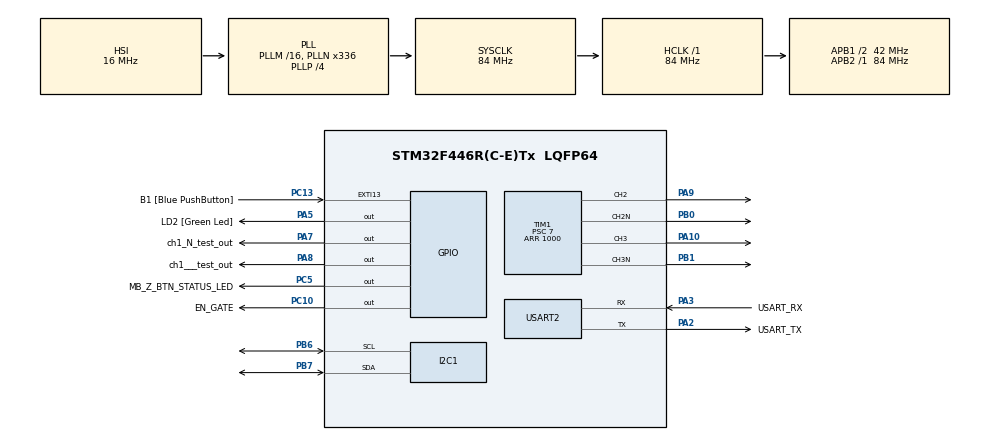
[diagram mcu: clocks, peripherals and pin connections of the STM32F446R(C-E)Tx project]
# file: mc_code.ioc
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Mcu.Family=STM32F4
Mcu.Name=STM32F446R(C-E)Tx
Mcu.Package=LQFP64
NVIC.PriorityGroup=NVIC_PRIORITYGROUP_4
PA10.Signal=S_TIM1_CH3
PA13.GPIO_Label=TMS
PA13.Mode=Serial_Wire
PA13.Signal=SYS_JTMS-SWDIO
PA14.GPIO_Label=TCK
PA14.Mode=Serial_Wire
PA14.Signal=SYS_JTCK-SWCLK
PA2.GPIO_Label=USART_TX
PA2.Mode=Asynchronous
PA2.Signal=USART2_TX
PA3.GPIO_Label=USART_RX
PA3.Mode=Asynchronous
PA3.Signal=USART2_RX
PA5.GPIO_Label=LD2 [Green Led]
PA5.Signal=GPIO_Output
PA7.GPIO_Label=ch1_N_test_out
PA7.Signal=GPIO_Output
PA8.GPIO_Label=ch1___test_out
PA8.Signal=GPIO_Output
PA9.Signal=S_TIM1_CH2
PB0.Mode=PWM Generation2 CH2 CH2N
PB0.Signal=TIM1_CH2N
PB1.Mode=PWM Generation3 CH3 CH3N
PB1.Signal=TIM1_CH3N
PB3.GPIO_Label=SWO
PB3.Signal=SYS_JTDO-SWO
PB6.Mode=I2C
PB6.Signal=I2C1_SCL
PB7.Mode=I2C
PB7.Signal=I2C1_SDA
PC10.GPIO_Label=EN_GATE
PC10.Signal=GPIO_Output
PC13.GPIO_Label=B1 [Blue PushButton]
PC13.GPIO_ModeDefaultEXTI=GPIO_MODE_IT_FALLING
PC13.Signal=GPXTI13
PC14-OSC32_IN.Mode=LSE-External-Oscillator
PC14-OSC32_IN.Signal=RCC_OSC32_IN
PC15-OSC32_OUT.Mode=LSE-External-Oscillator
PC15-OSC32_OUT.Signal=RCC_OSC32_OUT
PC5.GPIO_Label=MB_Z_BTN_STATUS_LED
PC5.Signal=GPIO_Output
PH0-OSC_IN.Mode=HSE-External-Oscillator
PH0-OSC_IN.Signal=RCC_OSC_IN
PH1-OSC_OUT.Mode=HSE-External-Oscillator
PH1-OSC_OUT.Signal=RCC_OSC_OUT
ProjectManager.HeapSize=0x200
ProjectManager.StackSize=0x400
ProjectManager.TargetToolchain=TrueSTUDIO
RCC.48MHZClocksFreq_Value=84000000
RCC.AHBFreq_Value=84000000
RCC.APB1CLKDivider=RCC_HCLK_DIV2
RCC.APB1Freq_Value=42000000
RCC.APB1TimFreq_Value=84000000
RCC.APB2Freq_Value=84000000
RCC.APB2TimFreq_Value=84000000
RCC.CortexFreq_Value=84000000
RCC.FLatency-AdvancedSettings=FLASH_LATENCY_2
RCC.HCLKFreq_Value=84000000
RCC.HSE_VALUE=8000000
RCC.HSI_VALUE=16000000
RCC.PLLN=336
RCC.PLLP=RCC_PLLP_DIV4
RCC.SYSCLKFreq_VALUE=84000000
RCC.SYSCLKSource=RCC_SYSCLKSOURCE_PLLCLK
RCC.USBFreq_Value=168000000
RCC.VCOOutputFreq_Value=336000000
SH.S_TIM1_CH2.0=TIM1_CH2,PWM Generation2 CH2 CH2N
SH.S_TIM1_CH3.0=TIM1_CH3,PWM Generation3 CH3 CH3N
TIM1.Channel-PWM\ Generation2\ CH2\ CH2N=TIM_CHANNEL_2
TIM1.Channel-PWM\ Generation3\ CH3\ CH3N=TIM_CHANNEL_3
TIM1.CounterMode=TIM_COUNTERMODE_CENTERALIGNED1
TIM1.OCNIdleState_2=TIM_OCNIDLESTATE_RESET
TIM1.OCNPolarity_2=TIM_OCNPOLARITY_HIGH
TIM1.Period=1000
TIM1.Prescaler=7
TIM1.Pulse-PWM\ Generation2\ CH2\ CH2N=500
TIM1.Pulse-PWM\ Generation3\ CH3\ CH3N=300
USART2.VirtualMode=VM_ASYNC
VP_TIM1_VS_ClockSourceINT.Mode=Internal
board=NUCLEO-F446RE

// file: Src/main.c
/* USER CODE BEGIN Header */
/**
  ******************************************************************************
  * @file           : main.c
  * @brief          : Main program body
  ******************************************************************************
  ** This notice applies to any and all portions of this file
  * that are not between comment pairs USER CODE BEGIN and
  * USER CODE END. Other portions of this file, whether
  * inserted by the user or by software development tools
  * are owned by their respective copyright owners.
  *
  * COPYRIGHT(c) 2019 STMicroelectronics
  *
  * Redistribution and use in source and binary forms, with or without modification,
  * are permitted provided that the following conditions are met:
  *   1. Redistributions of source code must retain the above copyright notice,
  *      this list of conditions and the following disclaimer.
  *   2. Redistributions in binary form must reproduce the above copyright notice,
  *      this list of conditions and the following disclaimer in the documentation
  *      and/or other materials provided with the distribution.
  *   3. Neither the name of STMicroelectronics nor the names of its contributors
  *      may be used to endorse or promote products derived from this software
  *      without specific prior written permission.
  *
  * THIS SOFTWARE IS PROVIDED BY THE COPYRIGHT HOLDERS AND CONTRIBUTORS "AS IS"
  * AND ANY EXPRESS OR IMPLIED WARRANTIES, INCLUDING, BUT NOT LIMITED TO, THE
  * IMPLIED WARRANTIES OF MERCHANTABILITY AND FITNESS FOR A PARTICULAR PURPOSE ARE
  * DISCLAIMED. IN NO EVENT SHALL THE COPYRIGHT HOLDER OR CONTRIBUTORS BE LIABLE
  * FOR ANY DIRECT, INDIRECT, INCIDENTAL, SPECIAL, EXEMPLARY, OR CONSEQUENTIAL
  * DAMAGES (INCLUDING, BUT NOT LIMITED TO, PROCUREMENT OF SUBSTITUTE GOODS OR
  * SERVICES; LOSS OF USE, DATA, OR PROFITS; OR BUSINESS INTERRUPTION) HOWEVER
  * CAUSED AND ON ANY THEORY OF LIABILITY, WHETHER IN CONTRACT, STRICT LIABILITY,
  * OR TORT (INCLUDING NEGLIGENCE OR OTHERWISE) ARISING IN ANY WAY OUT OF THE USE
  * OF THIS SOFTWARE, EVEN IF ADVISED OF THE POSSIBILITY OF SUCH DAMAGE.
  *
  ******************************************************************************
  */
/* USER CODE END Header */

#include "main.h"

/* USER CODE BEGIN Includes */

#include <stdbool.h>

/* USER CODE END Includes */

/* USER CODE BEGIN PD */

#define USING_MY_BOARD 0 // 0 = using Nucleo board

#if USING_MY_BOARD == 0
#define Z_BTN_STATUS_LED_PIN  LD2_Pin
#define Z_BTN_STATUS_LED_PORT LD2_GPIO_Port
#else
#define Z_BTN_STATUS_LED_PIN  MB_Z_BTN_STATUS_LED_Pin
#define Z_BTN_STATUS_LED_PORT GPIOC
#endif

#define NUNCHUCK_ADDRESS  0xA4

/* USER CODE END PD */

I2C_HandleTypeDef hi2c1;

TIM_HandleTypeDef htim1;

UART_HandleTypeDef huart2;

void SystemClock_Config(void);
static void MX_GPIO_Init(void);
static void MX_USART2_UART_Init(void);
static void MX_I2C1_Init(void);
static void MX_TIM1_Init(void);

/* USER CODE BEGIN 0 */
bool nunchuck_connected(uint32_t xferOptions, uint32_t error_code)
{
	if (xferOptions == 0 || error_code != 0)
		return false;
	else
		return true;
}
/* USER CODE END 0 */

int main(void)
{

  /* MCU Configuration--------------------------------------------------------*/

  /* Reset of all peripherals, Initializes the Flash interface and the Systick. */
  HAL_Init();

  /* Configure the system clock */
  SystemClock_Config();

  /* Initialize all configured peripherals */
  MX_GPIO_Init();
  MX_USART2_UART_Init();
  MX_I2C1_Init();
  MX_TIM1_Init();
  /* USER CODE BEGIN 2 */

  //blink LED once for just to show that everything is working
  HAL_GPIO_WritePin(Z_BTN_STATUS_LED_PORT,Z_BTN_STATUS_LED_PIN, 1);
  HAL_Delay(1000); //Delay 1 Seconds
  HAL_GPIO_WritePin(Z_BTN_STATUS_LED_PORT,Z_BTN_STATUS_LED_PIN, 0);

  //Set EN_GATE high to enable Mosfet Driver
  HAL_GPIO_WritePin(EN_GATE_GPIO_Port,EN_GATE_Pin, 1);

  // remove !!!!!!!!!!!!!!!!!!!!!!!!!!!!!!!!!!!!!!!!!!!!!!!!!
  HAL_GPIO_WritePin(GPIOA,ch1___test_out_Pin, 1);
  HAL_GPIO_WritePin(GPIOA,ch1_N_test_out_Pin, 0);

  HAL_TIM_PWM_Start   (&htim1, TIM_CHANNEL_1);
  HAL_TIMEx_PWMN_Start(&htim1, TIM_CHANNEL_1);
  HAL_TIM_PWM_Start   (&htim1, TIM_CHANNEL_2);
  HAL_TIMEx_PWMN_Start(&htim1, TIM_CHANNEL_2);
  HAL_TIM_PWM_Start   (&htim1, TIM_CHANNEL_3);
  HAL_TIMEx_PWMN_Start(&htim1, TIM_CHANNEL_3);

  //keep trying to connect to nunchuck, stay in this loop until you do,
  //if you cant get out of this loop, unplug, replug, debug, press S button to connect nunchuck
  while(nunchuck_connected(hi2c1.XferOptions, hi2c1.ErrorCode) == false)
  {
	  //set mode of nunchuck
	  uint8_t init_data[6];
	  init_data[0] = 0xF0;
	  init_data[1] = 0x55;
	//  twi_send_msg(&TWID, NUNCHUCK, &init_data[0], 2);
	  HAL_I2C_Master_Transmit(&hi2c1, NUNCHUCK_ADDRESS, init_data, 2, 100);
	  init_data[0] = 0xFB;
	  init_data[1] = 0x00;
	  HAL_I2C_Master_Transmit(&hi2c1, NUNCHUCK_ADDRESS, init_data, 2, 100);

	  wait(10);
  }

  //read from nunchuck
  uint8_t data[6];
  uint8_t buf[] = {0};

  int buttonZ = 0;

  bool btn_Z = 0;

  while(1)
    {

  	  uint8_t msg1[] = "ABCCC";
  	  HAL_UART_Transmit(&huart2, msg1, strlen((char*)msg1), 5) ;
  	  HAL_I2C_Master_Transmit(&hi2c1, NUNCHUCK_ADDRESS, buf, 1, 100);
  	  HAL_I2C_Master_Receive (&hi2c1, NUNCHUCK_ADDRESS, data, 6, 100);

  	  buttonZ = data[5] & 0x01;
  	  btn_Z = data[5] & 0x01;
        if(data[5] & 0x01) {
      	  HAL_GPIO_WritePin(Z_BTN_STATUS_LED_PORT,Z_BTN_STATUS_LED_PIN,0);
            buttonZ = 0;
            //  //stop pwm
              HAL_TIM_PWM_Stop(&htim1, TIM_CHANNEL_1);
              HAL_TIM_PWM_Stop(&htim1, TIM_CHANNEL_2);
              HAL_TIM_PWM_Stop(&htim1, TIM_CHANNEL_3);

        } else {
      	  HAL_GPIO_WritePin(Z_BTN_STATUS_LED_PORT,Z_BTN_STATUS_LED_PIN, 1);
            buttonZ = 1;

            //  HAL_TIM_Base_Start_IT(&htim8);
              HAL_TIM_PWM_Start(&htim1, TIM_CHANNEL_1);
              HAL_TIM_PWM_Start(&htim1, TIM_CHANNEL_2);
              HAL_TIM_PWM_Start(&htim1, TIM_CHANNEL_3);
        }
    }

  /* USER CODE END 2 */

  /* Infinite loop */

}

void SystemClock_Config(void)
{
  RCC_OscInitTypeDef RCC_OscInitStruct = {0};
  RCC_ClkInitTypeDef RCC_ClkInitStruct = {0};

  /**Configure the main internal regulator output voltage
  */
  __HAL_RCC_PWR_CLK_ENABLE();
  __HAL_PWR_VOLTAGESCALING_CONFIG(PWR_REGULATOR_VOLTAGE_SCALE3);
  /**Initializes the CPU, AHB and APB busses clocks
  */
  RCC_OscInitStruct.OscillatorType = RCC_OSCILLATORTYPE_HSI;
  RCC_OscInitStruct.HSIState = RCC_HSI_ON;
  RCC_OscInitStruct.HSICalibrationValue = RCC_HSICALIBRATION_DEFAULT;
  RCC_OscInitStruct.PLL.PLLState = RCC_PLL_ON;
  RCC_OscInitStruct.PLL.PLLSource = RCC_PLLSOURCE_HSI;
  RCC_OscInitStruct.PLL.PLLM = 16;
  RCC_OscInitStruct.PLL.PLLN = 336;
  RCC_OscInitStruct.PLL.PLLP = RCC_PLLP_DIV4;
  RCC_OscInitStruct.PLL.PLLQ = 2;
  RCC_OscInitStruct.PLL.PLLR = 2;
  if (HAL_RCC_OscConfig(&RCC_OscInitStruct) != HAL_OK)
  {
    Error_Handler();
  }
  /**Initializes the CPU, AHB and APB busses clocks
  */
  RCC_ClkInitStruct.ClockType = RCC_CLOCKTYPE_HCLK|RCC_CLOCKTYPE_SYSCLK
                              |RCC_CLOCKTYPE_PCLK1|RCC_CLOCKTYPE_PCLK2;
  RCC_ClkInitStruct.SYSCLKSource = RCC_SYSCLKSOURCE_PLLCLK;
  RCC_ClkInitStruct.AHBCLKDivider = RCC_SYSCLK_DIV1;
  RCC_ClkInitStruct.APB1CLKDivider = RCC_HCLK_DIV2;
  RCC_ClkInitStruct.APB2CLKDivider = RCC_HCLK_DIV1;

  if (HAL_RCC_ClockConfig(&RCC_ClkInitStruct, FLASH_LATENCY_2) != HAL_OK)
  {
    Error_Handler();
  }
}

static void MX_I2C1_Init(void)
{

  hi2c1.Instance = I2C1;
  hi2c1.Init.ClockSpeed = 100000;
  hi2c1.Init.DutyCycle = I2C_DUTYCYCLE_2;
  hi2c1.Init.OwnAddress1 = 0;
  hi2c1.Init.AddressingMode = I2C_ADDRESSINGMODE_7BIT;
  hi2c1.Init.DualAddressMode = I2C_DUALADDRESS_DISABLE;
  hi2c1.Init.OwnAddress2 = 0;
  hi2c1.Init.GeneralCallMode = I2C_GENERALCALL_DISABLE;
  hi2c1.Init.NoStretchMode = I2C_NOSTRETCH_DISABLE;
  if (HAL_I2C_Init(&hi2c1) != HAL_OK)
  {
    Error_Handler();
  }

}

static void MX_TIM1_Init(void)
{

  TIM_ClockConfigTypeDef sClockSourceConfig = {0};
  TIM_MasterConfigTypeDef sMasterConfig = {0};
  TIM_OC_InitTypeDef sConfigOC = {0};
  TIM_BreakDeadTimeConfigTypeDef sBreakDeadTimeConfig = {0};

  htim1.Instance = TIM1;
  htim1.Init.Prescaler = 7;
  htim1.Init.CounterMode = TIM_COUNTERMODE_CENTERALIGNED1;
  htim1.Init.Period = 1000;
  htim1.Init.ClockDivision = TIM_CLOCKDIVISION_DIV1;
  htim1.Init.RepetitionCounter = 0;
  if (HAL_TIM_Base_Init(&htim1) != HAL_OK)
  {
    Error_Handler();
  }
  sClockSourceConfig.ClockSource = TIM_CLOCKSOURCE_INTERNAL;
  if (HAL_TIM_ConfigClockSource(&htim1, &sClockSourceConfig) != HAL_OK)
  {
    Error_Handler();
  }
  if (HAL_TIM_PWM_Init(&htim1) != HAL_OK)
  {
    Error_Handler();
  }
  sMasterConfig.MasterOutputTrigger = TIM_TRGO_RESET;
  sMasterConfig.MasterSlaveMode = TIM_MASTERSLAVEMODE_DISABLE;
  if (HAL_TIMEx_MasterConfigSynchronization(&htim1, &sMasterConfig) != HAL_OK)
  {
    Error_Handler();
  }
  sConfigOC.OCMode = TIM_OCMODE_PWM1;
  sConfigOC.Pulse = 500;
  sConfigOC.OCPolarity = TIM_OCPOLARITY_HIGH;
  sConfigOC.OCNPolarity = TIM_OCNPOLARITY_HIGH;
  sConfigOC.OCFastMode = TIM_OCFAST_DISABLE;
  sConfigOC.OCIdleState = TIM_OCIDLESTATE_RESET;
  sConfigOC.OCNIdleState = TIM_OCNIDLESTATE_RESET;
  if (HAL_TIM_PWM_ConfigChannel(&htim1, &sConfigOC, TIM_CHANNEL_2) != HAL_OK)
  {
    Error_Handler();
  }
  sConfigOC.Pulse = 300;
  if (HAL_TIM_PWM_ConfigChannel(&htim1, &sConfigOC, TIM_CHANNEL_3) != HAL_OK)
  {
    Error_Handler();
  }
  sBreakDeadTimeConfig.OffStateRunMode = TIM_OSSR_DISABLE;
  sBreakDeadTimeConfig.OffStateIDLEMode = TIM_OSSI_DISABLE;
  sBreakDeadTimeConfig.LockLevel = TIM_LOCKLEVEL_OFF;
  sBreakDeadTimeConfig.DeadTime = 0;
  sBreakDeadTimeConfig.BreakState = TIM_BREAK_DISABLE;
  sBreakDeadTimeConfig.BreakPolarity = TIM_BREAKPOLARITY_HIGH;
  sBreakDeadTimeConfig.AutomaticOutput = TIM_AUTOMATICOUTPUT_DISABLE;
  if (HAL_TIMEx_ConfigBreakDeadTime(&htim1, &sBreakDeadTimeConfig) != HAL_OK)
  {
    Error_Handler();
  }
  HAL_TIM_MspPostInit(&htim1);

}

static void MX_USART2_UART_Init(void)
{

  huart2.Instance = USART2;
  huart2.Init.BaudRate = 115200;
  huart2.Init.WordLength = UART_WORDLENGTH_8B;
  huart2.Init.StopBits = UART_STOPBITS_1;
  huart2.Init.Parity = UART_PARITY_NONE;
  huart2.Init.Mode = UART_MODE_TX_RX;
  huart2.Init.HwFlowCtl = UART_HWCONTROL_NONE;
  huart2.Init.OverSampling = UART_OVERSAMPLING_16;
  if (HAL_UART_Init(&huart2) != HAL_OK)
  {
    Error_Handler();
  }

}

static void MX_GPIO_Init(void)
{
  GPIO_InitTypeDef GPIO_InitStruct = {0};

  /* GPIO Ports Clock Enable */
  __HAL_RCC_GPIOC_CLK_ENABLE();
  __HAL_RCC_GPIOH_CLK_ENABLE();
  __HAL_RCC_GPIOA_CLK_ENABLE();
  __HAL_RCC_GPIOB_CLK_ENABLE();

  /*Configure GPIO pin Output Level */
  HAL_GPIO_WritePin(GPIOA, LD2_Pin|ch1_N_test_out_Pin|ch1___test_out_Pin, GPIO_PIN_RESET);

  /*Configure GPIO pin Output Level */
  HAL_GPIO_WritePin(GPIOC, MB_Z_BTN_STATUS_LED_Pin|EN_GATE_Pin, GPIO_PIN_RESET);

  /*Configure GPIO pin : B1_Pin */
  GPIO_InitStruct.Pin = B1_Pin;
  GPIO_InitStruct.Mode = GPIO_MODE_IT_FALLING;
  GPIO_InitStruct.Pull = GPIO_NOPULL;
  HAL_GPIO_Init(B1_GPIO_Port, &GPIO_InitStruct);

  /*Configure GPIO pins : LD2_Pin ch1_N_test_out_Pin ch1___test_out_Pin */
  GPIO_InitStruct.Pin = LD2_Pin|ch1_N_test_out_Pin|ch1___test_out_Pin;
  GPIO_InitStruct.Mode = GPIO_MODE_OUTPUT_PP;
  GPIO_InitStruct.Pull = GPIO_NOPULL;
  GPIO_InitStruct.Speed = GPIO_SPEED_FREQ_LOW;
  HAL_GPIO_Init(GPIOA, &GPIO_InitStruct);

  /*Configure GPIO pins : MB_Z_BTN_STATUS_LED_Pin EN_GATE_Pin */
  GPIO_InitStruct.Pin = MB_Z_BTN_STATUS_LED_Pin|EN_GATE_Pin;
  GPIO_InitStruct.Mode = GPIO_MODE_OUTPUT_PP;
  GPIO_InitStruct.Pull = GPIO_NOPULL;
  GPIO_InitStruct.Speed = GPIO_SPEED_FREQ_LOW;
  HAL_GPIO_Init(GPIOC, &GPIO_InitStruct);

}

void Error_Handler(void)
{
}

/************************ (C) COPYRIGHT STMicroelectronics *****END OF FILE****/
